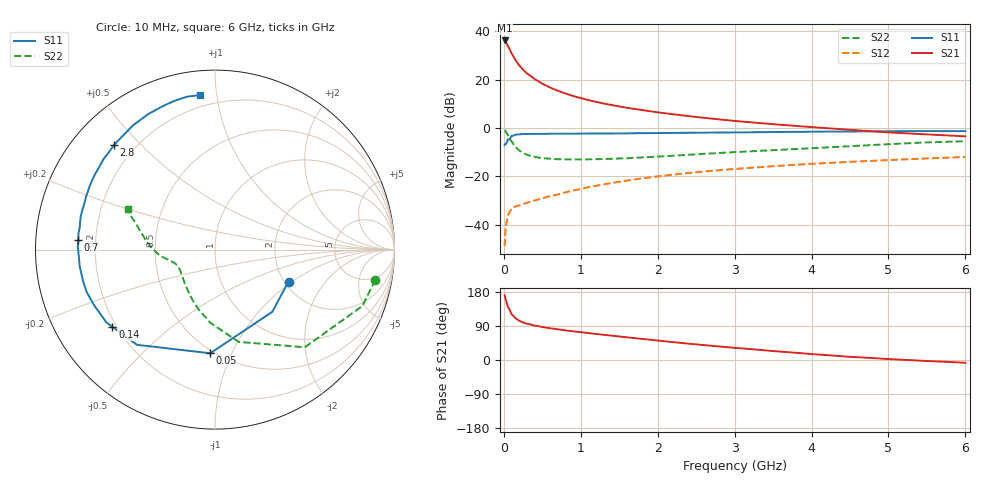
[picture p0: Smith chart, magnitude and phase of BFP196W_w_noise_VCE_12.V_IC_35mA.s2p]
! Infineon Technologies  Discrete & RF Semiconductors
! BFP196W
! VCE =  12. V,  IC =  35 mA
! Common Emitter S-Parameters:  Jan 2017
# GHz  S  MA  R  50
!  f  S11  S21  S12  S22
! GHz  MAG  ANG  MAG  ANG  MAG  ANG  MAG  ANG
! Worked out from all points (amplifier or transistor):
!   77 points, 10 MHz to 6 GHz, reference 50 ohm
!   highest |S21| = 36.3 dB at 10 MHz (marker M1)
!   |S21| within 3 dB of that: start of sweep to 65.02 MHz
!   unconditionally stable (mu >= 1): 841.3 MHz to 3.277 GHz
!   at 130 MHz: K = 0.33, MSG = 31.1 dB, |S12| = -32.8 dB
!   at 2.2 GHz: K = 1.05, MAG = 11.1 dB, |S12| = -19.3 dB
!   at 6 GHz: K = 0.91, MSG = 4.3 dB, |S12| = -12.0 dB
!   lowest NFmin = 1.19 dB at 450 MHz
!   S11 on the Smith chart (normalised r, x): 10 MHz: 2.11, -0.94; 50 MHz: 0.48, -0.83; 140 MHz: 0.18, -0.32; 700 MHz: 0.13, +0.04; 2.8 GHz: 0.12, +0.42; 6 GHz: 0.13, +0.90
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0.01  0.4467 -23.5  65.04 171.2  0.0036 61.7  0.9092 -10.7
0.02  0.4714 -47.4  62.43 162.1  0.0072 69.9  0.8793 -20.9
0.05  0.5781 -92.6  51.45 141.1  0.0152 52.7  0.7394 -47.4
0.1  0.6859 -129.3  35.21 120.7  0.0215 42.6  0.531 -75.6
0.14  0.7153 -143.0  27.48 113.0  0.0235 38.8  0.4298 -89.1
0.15  0.7287 -146.2  25.65 110.3  0.024 37.9  0.4094 -93.5
0.2  0.7422 -155.6  19.87 103.6  0.0251 36.8  0.3456 -105.4
0.25  0.7533 -162.0  16.16 99.0  0.0268 37.7  0.3055 -114.6
0.3  0.7556 -166.6  13.57 95.8  0.0284 40.2  0.28 -121.6
0.4  0.7597 -173.0  10.32 90.7  0.0317 42.8  0.2527 -131.8
0.5  0.7599 -177.5  8.28 87.0  0.0353 45.7  0.2385 -138.7
0.6  0.7643 178.8  6.929 83.8  0.0391 49.0  0.2323 -143.9
0.7  0.7639 175.9  5.934 81.1  0.0422 51.8  0.2268 -147.6
0.9  0.7639 170.4  4.619 75.7  0.0511 54.1  0.2252 -152.5
1.1  0.771 165.9  3.8 71.1  0.06 57.1  0.2258 -155.6
1.5  0.7769 157.6  2.799 62.1  0.0772 57.7  0.235 -160.8
2.1  0.7908 145.9  2.024 49.3  0.1043 56.0  0.2622 -167.0
2.8  0.8103 134.1  1.511 35.7  0.1344 51.7  0.3049 -173.6
3.1  0.8151 129.4  1.363 30.5  0.1463 49.5  0.324 -176.7
4.1  0.8426 115.0  1.021 14.3  0.1856 42.0  0.3905 172.0
5.1  0.8605 104.1  0.798 1.5  0.2212 34.6  0.4723 161.0
6  0.865 95.5  0.674 -7.3  0.2526 27.7  0.5343 155.1
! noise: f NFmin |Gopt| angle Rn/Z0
0.45  1.19  0.46  180  0.06
0.9  1.33  0.53  -174  0.06
1.9  2.17  0.68  -151  0.13
2.4  2.57  0.73  -145  0.23
